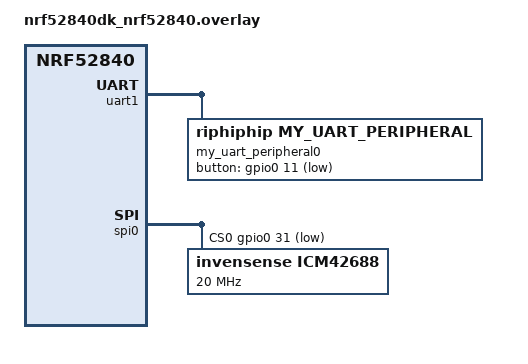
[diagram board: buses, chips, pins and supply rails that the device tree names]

&uart1 {
    my_device: my_uart_peripheral0 {
        compatible = "riphiphip,my_uart_peripheral";
        status="okay";
        label = "my_uart_peripheral0";
        button-gpios = <&gpio0 11 (GPIO_ACTIVE_LOW | GPIO_PULL_UP)>; // Button 1 on dk
        initial-string = "Hello, World!";
    };
};

&spi0 {
	cs-gpios =<&gpio0 31 GPIO_ACTIVE_LOW>;

	icm42688p@0 {
		compatible = "invensense,icm42688";
		reg = <0>;
		spi-max-frequency = <20000000>;
		accel-hz = <32000>;
		accel-fs = <16>;
		gyro-hz = <32000>;
		gyro-fs = <2000>;
		label = "ICM42688";
	};

	status = "okay";
};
